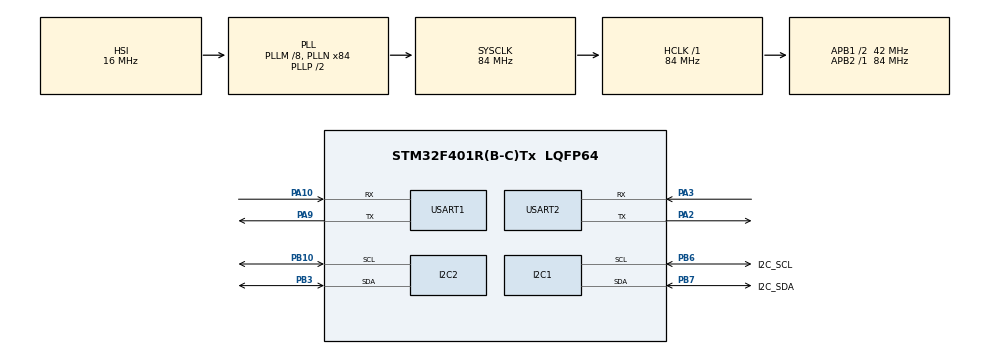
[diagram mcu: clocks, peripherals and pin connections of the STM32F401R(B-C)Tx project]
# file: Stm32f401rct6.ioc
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I2C1.I2C_Mode=I2C_Fast
Mcu.Family=STM32F4
Mcu.Name=STM32F401R(B-C)Tx
Mcu.Package=LQFP64
NVIC.PriorityGroup=NVIC_PRIORITYGROUP_4
NVIC.USART2_IRQn=true\:0\:0\:true\:false\:true\:true\:true\:true
PA0-WKUP.Mode=SYS_WakeUp0
PA0-WKUP.Signal=SYS_WKUP
PA10.Mode=Asynchronous
PA10.Signal=USART1_RX
PA13.Mode=Serial_Wire
PA13.Signal=SYS_JTMS-SWDIO
PA14.Mode=Serial_Wire
PA14.Signal=SYS_JTCK-SWCLK
PA2.Mode=Asynchronous
PA2.Signal=USART2_TX
PA3.Mode=Asynchronous
PA3.Signal=USART2_RX
PA9.Mode=Asynchronous
PA9.Signal=USART1_TX
PB10.Mode=I2C
PB10.Signal=I2C2_SCL
PB3.Mode=I2C
PB3.Signal=I2C2_SDA
PB6.GPIO_Label=I2C_SCL
PB6.GPIO_Mode=GPIO_MODE_AF_OD
PB6.GPIO_Pu=GPIO_NOPULL
PB6.Mode=I2C
PB6.Signal=I2C1_SCL
PB7.GPIO_Label=I2C_SDA
PB7.GPIO_Mode=GPIO_MODE_AF_OD
PB7.GPIO_Pu=GPIO_NOPULL
PB7.Mode=I2C
PB7.Signal=I2C1_SDA
ProjectManager.HeapSize=0x200
ProjectManager.StackSize=0x400
ProjectManager.TargetToolchain=STM32CubeIDE
RCC.48MHZClocksFreq_Value=42000000
RCC.AHBFreq_Value=84000000
RCC.APB1CLKDivider=RCC_HCLK_DIV2
RCC.APB1Freq_Value=42000000
RCC.APB1TimFreq_Value=84000000
RCC.APB2Freq_Value=84000000
RCC.APB2TimFreq_Value=84000000
RCC.CortexFreq_Value=84000000
RCC.HCLKFreq_Value=84000000
RCC.HSE_VALUE=25000000
RCC.HSI_VALUE=16000000
RCC.LSE_VALUE=32768
RCC.PLLM=8
RCC.PLLN=84
RCC.SYSCLKFreq_VALUE=84000000
RCC.SYSCLKSource=RCC_SYSCLKSOURCE_PLLCLK
RCC.VCOOutputFreq_Value=168000000
USART1.VirtualMode=VM_ASYNC
USART2.VirtualMode=VM_ASYNC
board=custom

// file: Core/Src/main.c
/* USER CODE BEGIN Header */
/**
  ******************************************************************************
  * @file           : main.c
  * @brief          : Main program body
  ******************************************************************************
  * @attention
  *
  * Copyright (c) 2024 STMicroelectronics.
  * All rights reserved.
  *
  * This software is licensed under terms that can be found in the LICENSE file
  * in the root directory of this software component.
  * If no LICENSE file comes with this software, it is provided AS-IS.
  *
  ******************************************************************************
  */

// B7 -> SDA
// B6 -> SCL
// A2 -> TX
// A3 -> RX
/* USER CODE END Header */
#include "main.h"

/* USER CODE BEGIN Includes */
#include "main.h"

#include "stdio.h"
#include "mpu6050.h"
#include "stdio.h"
#include "stdlib.h"
#include "bool.h"
//#include "uart.h"
/* USER CODE END Includes */

I2C_HandleTypeDef hi2c1;
I2C_HandleTypeDef hi2c2;

UART_HandleTypeDef huart1;
UART_HandleTypeDef huart2;

/* USER CODE BEGIN PV */
//extern UART_HandleTypeDef huart2;
MPU6050_t MPU6050;

uint8_t Buffer[2];
uint8_t Receive_data;
int16_t K_gz;
float gyro_z;
float acc_x, acc_z, acc_y;
float last_gyroz;
float delta_gyroz1, delta_gyroz0,delta_gyroz2;

bool status_MPU6050 = true;

/* USER CODE END PV */

void SystemClock_Config(void);
static void MX_GPIO_Init(void);
static void MX_I2C1_Init(void);
static void MX_USART1_UART_Init(void);
static void MX_USART2_UART_Init(void);
static void MX_I2C2_Init(void);

int main(void)
{

  /* MCU Configuration--------------------------------------------------------*/

  /* Reset of all peripherals, Initializes the Flash interface and the Systick. */
  HAL_Init();

  /* USER CODE BEGIN Init */
  //printf("khởi tạo thành công");

  /* USER CODE END Init */

  /* Configure the system clock */
  SystemClock_Config();

  /* Initialize all configured peripherals */
  MX_GPIO_Init();
  MX_I2C1_Init();
  MX_USART1_UART_Init();
  MX_USART2_UART_Init();
  MX_I2C2_Init();
  /* USER CODE BEGIN 2 */

  while( MPU6050_Init(&hi2c2) != 104);

  //MPU6050_Balance_Data(&hi2c1, &MPU6050);
  //HAL_UART_Receive_IT(&huart2,(uint8_t*)&Receive_data,1);
  //status_MPU6050 = false;

  /* USER CODE END 2 */

  /* Infinite loop */
  /* USER CODE BEGIN WHILE */
  while (1)
  {
	  if(status_MPU6050){

			  MPU6050_Balance_Data(&hi2c2, &MPU6050);
			  HAL_UART_Receive_IT(&huart2,(uint8_t*)&Receive_data,1);
			  status_MPU6050 = false;
	  }else{

		 //Filter_getAngleZ(&hi2c1, &MPU6050);
		  MPU6050_Read_Accel(&hi2c2, &MPU6050);
		  MPU6050_Read_Gyro(&hi2c2, &MPU6050);

		 delta_gyroz2 = (int)(MPU6050.Gyro_Z[2] * 10);
		 delta_gyroz1 = (int)(MPU6050.Gyro_Z[1] * 10);
		 delta_gyroz0 = MPU6050.Gz;
		 K_gz = (int)(MPU6050.KalmanAngleZ * 10);

	  }
	 //HAL_Delay(1);
    /* USER CODE END WHILE */

  }
}

void SystemClock_Config(void)
{
  RCC_OscInitTypeDef RCC_OscInitStruct = {0};
  RCC_ClkInitTypeDef RCC_ClkInitStruct = {0};

  /** Configure the main internal regulator output voltage
  */
  __HAL_RCC_PWR_CLK_ENABLE();
  __HAL_PWR_VOLTAGESCALING_CONFIG(PWR_REGULATOR_VOLTAGE_SCALE2);

  /** Initializes the RCC Oscillators according to the specified parameters
  * in the RCC_OscInitTypeDef structure.
  */
  RCC_OscInitStruct.OscillatorType = RCC_OSCILLATORTYPE_HSI;
  RCC_OscInitStruct.HSIState = RCC_HSI_ON;
  RCC_OscInitStruct.HSICalibrationValue = RCC_HSICALIBRATION_DEFAULT;
  RCC_OscInitStruct.PLL.PLLState = RCC_PLL_ON;
  RCC_OscInitStruct.PLL.PLLSource = RCC_PLLSOURCE_HSI;
  RCC_OscInitStruct.PLL.PLLM = 8;
  RCC_OscInitStruct.PLL.PLLN = 84;
  RCC_OscInitStruct.PLL.PLLP = RCC_PLLP_DIV2;
  RCC_OscInitStruct.PLL.PLLQ = 4;
  if (HAL_RCC_OscConfig(&RCC_OscInitStruct) != HAL_OK)
  {
    Error_Handler();
  }

  /** Initializes the CPU, AHB and APB buses clocks
  */
  RCC_ClkInitStruct.ClockType = RCC_CLOCKTYPE_HCLK|RCC_CLOCKTYPE_SYSCLK
                              |RCC_CLOCKTYPE_PCLK1|RCC_CLOCKTYPE_PCLK2;
  RCC_ClkInitStruct.SYSCLKSource = RCC_SYSCLKSOURCE_PLLCLK;
  RCC_ClkInitStruct.AHBCLKDivider = RCC_SYSCLK_DIV1;
  RCC_ClkInitStruct.APB1CLKDivider = RCC_HCLK_DIV2;
  RCC_ClkInitStruct.APB2CLKDivider = RCC_HCLK_DIV1;

  if (HAL_RCC_ClockConfig(&RCC_ClkInitStruct, FLASH_LATENCY_2) != HAL_OK)
  {
    Error_Handler();
  }
}

static void MX_I2C1_Init(void)
{

  hi2c1.Instance = I2C1;
  hi2c1.Init.ClockSpeed = 400000;
  hi2c1.Init.DutyCycle = I2C_DUTYCYCLE_2;
  hi2c1.Init.OwnAddress1 = 0;
  hi2c1.Init.AddressingMode = I2C_ADDRESSINGMODE_7BIT;
  hi2c1.Init.DualAddressMode = I2C_DUALADDRESS_DISABLE;
  hi2c1.Init.OwnAddress2 = 0;
  hi2c1.Init.GeneralCallMode = I2C_GENERALCALL_DISABLE;
  hi2c1.Init.NoStretchMode = I2C_NOSTRETCH_DISABLE;
  if (HAL_I2C_Init(&hi2c1) != HAL_OK)
  {
    Error_Handler();
  }

}

static void MX_I2C2_Init(void)
{

  hi2c2.Instance = I2C2;
  hi2c2.Init.ClockSpeed = 100000;
  hi2c2.Init.DutyCycle = I2C_DUTYCYCLE_2;
  hi2c2.Init.OwnAddress1 = 0;
  hi2c2.Init.AddressingMode = I2C_ADDRESSINGMODE_7BIT;
  hi2c2.Init.DualAddressMode = I2C_DUALADDRESS_DISABLE;
  hi2c2.Init.OwnAddress2 = 0;
  hi2c2.Init.GeneralCallMode = I2C_GENERALCALL_DISABLE;
  hi2c2.Init.NoStretchMode = I2C_NOSTRETCH_DISABLE;
  if (HAL_I2C_Init(&hi2c2) != HAL_OK)
  {
    Error_Handler();
  }

}

static void MX_USART1_UART_Init(void)
{

  huart1.Instance = USART1;
  huart1.Init.BaudRate = 115200;
  huart1.Init.WordLength = UART_WORDLENGTH_8B;
  huart1.Init.StopBits = UART_STOPBITS_1;
  huart1.Init.Parity = UART_PARITY_NONE;
  huart1.Init.Mode = UART_MODE_TX_RX;
  huart1.Init.HwFlowCtl = UART_HWCONTROL_NONE;
  huart1.Init.OverSampling = UART_OVERSAMPLING_16;
  if (HAL_UART_Init(&huart1) != HAL_OK)
  {
    Error_Handler();
  }

}

static void MX_USART2_UART_Init(void)
{

  huart2.Instance = USART2;
  huart2.Init.BaudRate = 115200;
  huart2.Init.WordLength = UART_WORDLENGTH_8B;
  huart2.Init.StopBits = UART_STOPBITS_1;
  huart2.Init.Parity = UART_PARITY_NONE;
  huart2.Init.Mode = UART_MODE_TX_RX;
  huart2.Init.HwFlowCtl = UART_HWCONTROL_NONE;
  huart2.Init.OverSampling = UART_OVERSAMPLING_16;
  if (HAL_UART_Init(&huart2) != HAL_OK)
  {
    Error_Handler();
  }

}

static void MX_GPIO_Init(void)
{

  /* GPIO Ports Clock Enable */
  __HAL_RCC_GPIOA_CLK_ENABLE();
  __HAL_RCC_GPIOB_CLK_ENABLE();

}

/* USER CODE BEGIN 4 */

void HAL_UART_RxCpltCallback(UART_HandleTypeDef *huart){

	if(huart->Instance == huart2.Instance){
		if(Receive_data == 'z'){

			Buffer[0] = (K_gz >> 8) & 0xFF;
			Buffer[1] = (K_gz) & 0xFF;
			HAL_UART_Transmit_IT(&huart2,(uint8_t*)&Buffer, 2);
		}

		if(Receive_data == 'a'){
			K_gz = 0;
			MPU6050.KalmanAngleZ = 0;
			status_MPU6050 = true;
		}

		HAL_UART_Receive_IT(&huart2,(uint8_t*)&Receive_data,1);

	}
}

/* USER CODE END 4 */

void Error_Handler(void)
{
  __disable_irq();
  while (1)
  {
  }
}
